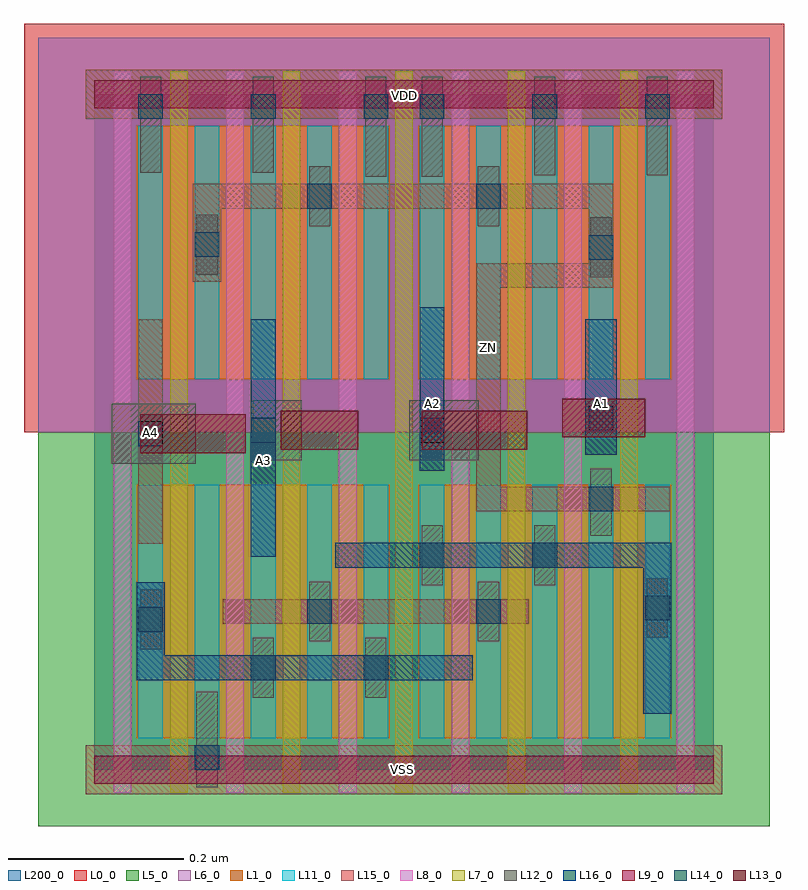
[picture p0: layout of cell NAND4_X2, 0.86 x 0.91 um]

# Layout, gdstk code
import gdstk
lib = gdstk.Library(unit=1e-6, precision=1e-09)
def R(c, l, rs):  # rectangles x0, y0, x1, y1
    for r in rs: c.add(gdstk.rectangle(r[:2], r[2:], *l))
def A(c, l, x, y, w, h, nx, ny, dx, dy):  # array of equal rectangles
    R(c, l, [(x+i*dx, y+j*dy, x+i*dx+w, y+j*dy+h) for i in range(nx) for j in range(ny)])
def P(c, l, *ps):  # polygons
    for p in ps: c.add(gdstk.Polygon(p, *l))
L0_0 = (0, 0)
L1_0 = (1, 0)
L5_0 = (5, 0)
L6_0 = (6, 0)
L7_0 = (7, 0)
L8_0 = (8, 0)
L9_0 = (9, 0)
L11_0 = (11, 0)
L12_0 = (12, 0)
L13_0 = (13, 0)
L14_0 = (14, 0)
L15_0 = (15, 0)
L16_0 = (16, 0)
L200_0 = (200, 0)

nand4_x2 = lib.new_cell('NAND4_X2')
R(nand4_x2, L0_0, [(-0.08,0.384,0.784,0.848)])
R(nand4_x2, L1_0, [(0.048,0.036,0.336,0.324), (0.368,0.036,0.656,0.324), (0.048,0.444,0.336,0.732), (0.368,0.444,0.656,0.732)])
R(nand4_x2, L5_0, [(-0.064,-0.064,0.768,0.384)])
R(nand4_x2, L6_0, [(-0.064,0.384,0.768,0.832)])
A(nand4_x2, L7_0, 0.086, -0.026, 0.02, 0.82, 5, 1, 0.128, 0)
A(nand4_x2, L8_0, 0.022, -0.026, 0.02, 0.82, 6, 1, 0.128, 0)
R(nand4_x2, L9_0, [(0,-0.016,0.704,0.016), (0,0.752,0.704,0.784)])
A(nand4_x2, L11_0, 0.05, 0.036, 0.028, 0.288, 10, 2, 0.064, 0.408)
R(nand4_x2, L12_0, [(0.116,-0.02,0.14,0.089), (0.18,0.082,0.204,0.15), (0.308,0.082,0.332,0.15), (0.052,0.137,0.076,0.205), (0.244,0.146,0.268,0.214), (0.436,0.146,0.46,0.214), (0.628,0.15,0.652,0.218), (0.372,0.21,0.396,0.278), (0.5,0.21,0.524,0.278), (0.564,0.266,0.588,0.342), (0.02,0.348,0.115,0.416), (0.18,0.352,0.236,0.42), (0.358,0.352,0.437,0.42), (0.564,0.56,0.588,0.628), (0.116,0.563,0.14,0.631), (0.244,0.618,0.268,0.686), (0.436,0.618,0.46,0.686), (0.308,0.674,0.332,0.788), (0.372,0.674,0.396,0.788), (0.5,0.676,0.524,0.788), (0.628,0.676,0.652,0.788), (0.052,0.679,0.076,0.788), (0.18,0.679,0.204,0.788)])
R(nand4_x2, L13_0, [(0.052,0.36,0.172,0.404), (0.212,0.364,0.3,0.408), (0.372,0.364,0.492,0.408), (0.532,0.378,0.626,0.422)])
A(nand4_x2, L14_0, 0.05, 0.74, 0.028, 0.028, 3, 1, 0.128, 0)
A(nand4_x2, L14_0, 0.37, 0.74, 0.028, 0.028, 3, 1, 0.128, 0)
R(nand4_x2, L14_0, [(0.114,0,0.142,0.028), (0.178,0.102,0.206,0.13), (0.306,0.102,0.334,0.13), (0.05,0.157,0.078,0.185), (0.242,0.166,0.27,0.194), (0.434,0.166,0.462,0.194), (0.626,0.17,0.654,0.198), (0.37,0.23,0.398,0.258), (0.498,0.23,0.526,0.258), (0.562,0.294,0.59,0.322), (0.05,0.368,0.078,0.396), (0.178,0.372,0.206,0.4), (0.37,0.372,0.398,0.4), (0.562,0.386,0.59,0.414), (0.562,0.58,0.59,0.608), (0.114,0.583,0.142,0.611), (0.242,0.638,0.27,0.666), (0.434,0.638,0.462,0.666)])
R(nand4_x2, L15_0, [(-0.01,-0.028,0.714,0.028), (0.146,0.166,0.494,0.194), (0.05,0.257,0.078,0.512), (-0.01,0.74,0.714,0.796)])
P(nand4_x2, L15_0, [(0.112,0.555),(0.144,0.555),(0.144,0.638),(0.562,0.638),(0.562,0.576),(0.434,0.576),(0.434,0.294),(0.654,0.294),(0.654,0.322),(0.462,0.322),(0.462,0.548),(0.59,0.548),(0.59,0.666),(0.112,0.666)])
R(nand4_x2, L16_0, [(0.178,0.242,0.206,0.512), (0.37,0.34,0.398,0.526), (0.558,0.358,0.594,0.512)])
P(nand4_x2, L16_0, [(0.048,0.102),(0.43,0.102),(0.43,0.13),(0.08,0.13),(0.08,0.213),(0.048,0.213)],
  [(0.274,0.23),(0.624,0.23),(0.624,0.064),(0.656,0.064),(0.656,0.258),(0.274,0.258)])
R(nand4_x2, L200_0, [(0,0,0.704,0.768)])
nand4_x2.add(gdstk.Label('VSS', (0.35,0), layer=15, texttype=20))
nand4_x2.add(gdstk.Label('A4', (0.064,0.384), layer=15, texttype=20))
nand4_x2.add(gdstk.Label('ZN', (0.448,0.48), layer=15, texttype=20))
nand4_x2.add(gdstk.Label('VDD', (0.352,0.767), layer=15, texttype=20))
nand4_x2.add(gdstk.Label('A3', (0.192,0.352), layer=16, texttype=20))
nand4_x2.add(gdstk.Label('A2', (0.384,0.416), layer=16, texttype=20))
nand4_x2.add(gdstk.Label('A1', (0.576,0.416), layer=16, texttype=20))

lib.write_gds('NAND4_X2.gds')
